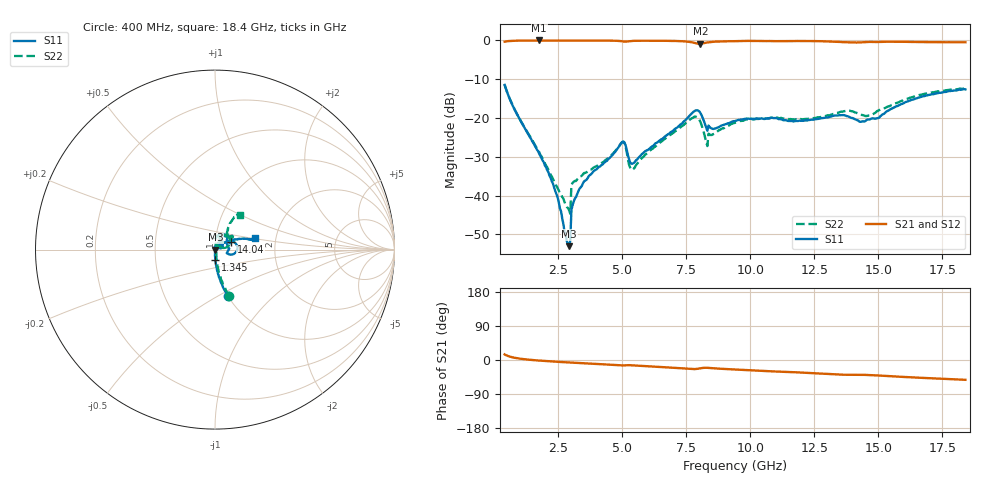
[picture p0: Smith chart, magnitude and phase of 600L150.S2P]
!  American Technical Ceramics  Date:  10/26/00
!  One Norden Lane
!  Huntington Station,  NY.  11746-2102
!  Tel:  (631) 622-4700  Fax:  (631) 622-4748
!  Part Number  600L150J  Mounting Orientation:  Horizontal
!  Description:  Low ESR, High Q Microwave capacitors
!  Application: Coupling, Bypass, Tuning, DC Block
!  Filters, Matching
# GHZ S DB R 50
! Freq  |S11|  S11 Ph  |S21|  S21 Ph  |S12|  S12 Ph  |S22|  S22 Ph
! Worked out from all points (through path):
!   401 points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, 400 MHz to 18.4 GHz, reference 50 ohm
!   highest |S21| = -0.05 dB at 1.75 GHz (marker M1); lowest = -0.9 dB at 8.05 GHz (marker M2)
!   group delay of S21, straight-line fit = 8.42 ps
!   lowest |S11| = -53.0 dB at 2.92 GHz (marker M3), VSWR 1.00, Z = 50.2 - j0.0899 ohm
!   |S11| at or under -10 dB: start of sweep to end of sweep
!   |S22| runs from -44.7 to -11.4 dB; largest |S21 - S12| = 0.0075
!   S11 on the Smith chart (normalised r, x): 400 MHz: 1.00, -0.55; 1.345 GHz: 1.00, -0.12; 14.04 GHz: 1.19, +0.10; 18.4 GHz: 1.56, +0.21
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0.4  -11.49 -74.5  -0.37 14.8  -0.38 14.9  -11.43 -73.0
1.345  -24.42 -87.9  -0.07 0.8  -0.06 0.8  -24.29 -80.8
1.75  -29.20 -90.0  -0.05 -1.5  -0.05 -1.5  -28.80 -77.3
2.38  -38.86 -87.0  -0.06 -4.4  -0.05 -4.4  -37.21 -56.7
2.83  -51.74 -57.0  -0.06 -6.2  -0.06 -6.2  -42.92 -26.3
2.92  -53.03 -23.7  -0.06 -6.5  -0.06 -6.5  -43.77 -15.1
3.1  -41.50 113.3  -0.07 -7.2  -0.07 -7.2  -36.42 18.7
3.415  -37.53 96.8  -0.08 -8.3  -0.07 -8.3  -34.87 35.1
4.99  -26.21 41.4  -0.27 -14.4  -0.26 -14.3  -26.27 53.9
5.395  -31.79 28.5  -0.17 -14.1  -0.17 -14.0  -33.36 58.6
6.43  -25.96 38.7  -0.13 -18.2  -0.12 -18.1  -26.60 89.8
7.735  -18.71 20.0  -0.56 -24.0  -0.55 -23.9  -20.03 58.7
8.05  -18.75 -8.3  -0.91 -21.8  -0.88 -21.7  -21.05 22.0
8.23  -21.65 -18.8  -0.67 -20.5  -0.67 -20.5  -25.02 10.1
8.32  -23.32 -16.8  -0.55 -20.6  -0.54 -20.5  -27.25 13.1
9.4  -20.82 41.8  -0.23 -25.1  -0.22 -24.9  -21.22 69.8
12.415  -20.44 57.9  -0.21 -34.8  -0.21 -34.6  -20.10 37.9
14.035  -20.18 24.6  -0.58 -39.0  -0.57 -38.7  -18.42 34.7
14.62  -20.42 26.0  -0.43 -39.8  -0.42 -39.7  -19.38 47.0
15.43  -17.98 26.8  -0.38 -42.5  -0.37 -42.4  -16.98 59.0
16.78  -14.40 18.1  -0.46 -47.3  -0.45 -47.1  -13.85 59.5
18.4  -12.64 16.1  -0.52 -52.3  -0.52 -52.1  -12.44 54.3
